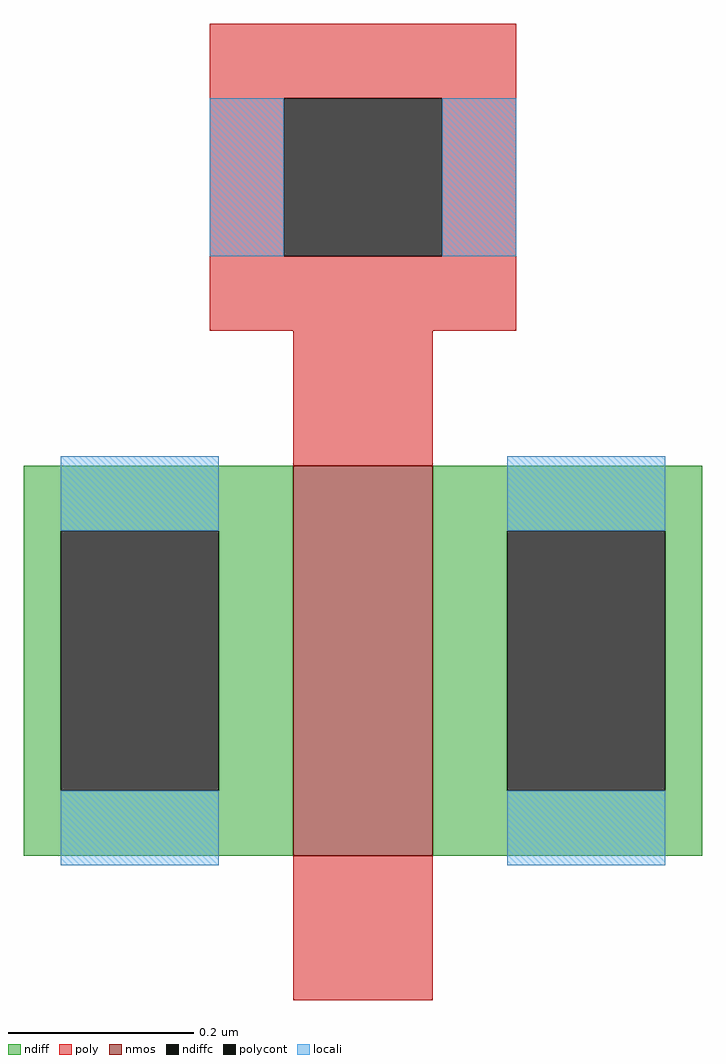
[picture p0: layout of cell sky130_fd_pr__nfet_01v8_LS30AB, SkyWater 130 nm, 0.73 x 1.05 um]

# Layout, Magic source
magic
tech sky130A
magscale 1 2
<< nmos >>
rect -15 -80 15 4
<< ndiff >>
rect -73 -10 -15 4
rect -73 -66 -65 -10
rect -31 -66 -15 -10
rect -73 -80 -15 -66
rect 15 -10 73 4
rect 15 -66 31 -10
rect 65 -66 73 -10
rect 15 -80 73 -66
<< ndiffc >>
rect -65 -66 -31 -10
rect 31 -66 65 -10
<< poly >>
rect -33 83 33 99
rect -33 49 -17 83
rect 17 49 33 83
rect -33 33 33 49
rect -15 4 15 33
rect -15 -111 15 -80
<< polycont >>
rect -17 49 17 83
<< locali >>
rect -33 49 -17 83
rect 17 49 33 83
rect -65 -10 -31 6
rect -65 -82 -31 -66
rect 31 -10 65 6
rect 31 -82 65 -66
<< properties >>
string gencell sky130_fd_pr__nfet_01v8
string library sky130
string parameters w 0.42 l 0.150 m 1 nf 1 diffcov 90 polycov 100 guard 0 glc 0 grc 0 gtc 1 gbc 1 tbcov 100 rlcov 100 topc 1 botc 0 poverlap 0 doverlap 1 lmin 0.15 wmin 0.42 compatible {sky130_fd_pr__nfet_01v8 sky130_fd_pr__nfet_01v8_lvt  sky130_fd_bs_flash__special_sonosfet_star  sky130_fd_pr__nfet_g5v0d10v5 sky130_fd_pr__nfet_05v0_nvt  sky130_fd_pr__nfet_03v3_nvt} full_metal 0 viasrc -40 viadrn 40 viagate 100 viagb 80 viagr 0 viagl 0 viagt 0
<< end >>
